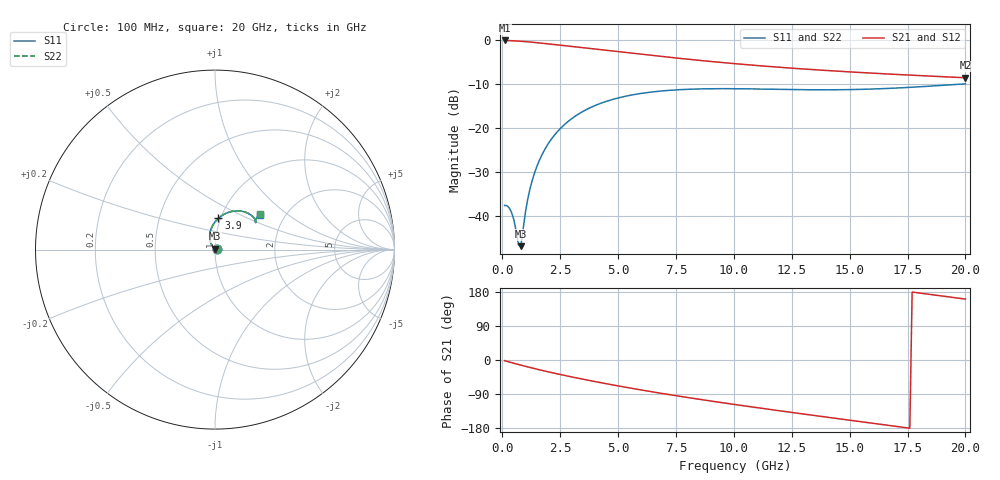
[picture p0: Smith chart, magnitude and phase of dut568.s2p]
! Touchstone file exported from HFSS 2024.1.0
!  File:  C:/UserFiles/LocalFiles/RDL_TSV_Batchsim/temp_RDL_TSV_568_1779753776.aedt
!  Generated:  08:15:35 AM May 26, 2026
!  Design:  RDL_TSV
!  Project:  temp_RDL_TSV_568_1779753776
!  Setup:  Setup1
!  Solution:  Sweep
! Variables:
!  dtsv = 14.31um
!  hbump = 3um
!  htsv = 53.37um
!  ldown = 234.03um
!  lrdl = 575.54um
!  p = 40
!  p1 = 45.98um
!  rhole = 10um
!  subl = 3004.25um
!  t = 450um
!  tdown = 3.14um
!  trdl = 4.39um
!  viad = 10um
!  wdown = 26.8um
!  wrdl = 18.78um
!  xbump = 18um
# GHz S MA R 50.000000
! Terminal data exported
! Port[1] = TM1_1_T1
! Port[2] = TM1_4_T1
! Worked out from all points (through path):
!   200 points, 100 MHz to 20 GHz, reference 50 ohm
!   highest |S21| = -0.12 dB at 100 MHz (marker M1); lowest = -8.6 dB at 20 GHz (marker M2)
!   group delay of S21, straight-line fit = 26.2 ps
!   lowest |S11| = -46.8 dB at 800 MHz (marker M3), VSWR 1.01, Z = 50.1 + j0.452 ohm
!   |S11| at or under -10 dB: start of sweep to 19.9 GHz
!   |S22| runs from -46.8 to -9.9 dB; largest |S21 - S12| = 8.7e-15
!   S11 on the Smith chart (normalised r, x): 100 MHz: 1.03, +0.00; 3.9 GHz: 0.98, +0.35; 20 GHz: 1.50, +0.65
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0.1  0.01324 2.6  0.9862 -1.8  0.9862 -1.8  0.01324 2.6
! Gamma 0 0 0 0
! Port Impedance 50 0 50 0
0.3  0.01244 3.0  0.9824 -5.2  0.9824 -5.2  0.01243 2.9
0.4  0.01104 3.3  0.9798 -6.9  0.9798 -6.9  0.01103 3.3
0.5  0.009081 6.0  0.9768 -8.6  0.9768 -8.6  0.009072 5.9
0.7  0.004715 36.8  0.9698 -11.9  0.9698 -11.9  0.004703 36.9
0.8  0.004569 81.1  0.9657 -13.5  0.9657 -13.5  0.004565 81.3
1  0.01113 121.6  0.9567 -16.7  0.9567 -16.7  0.01114 121.7
1.1  0.01568 125.6  0.9518 -18.3  0.9518 -18.3  0.0157 125.7
1.3  0.0259 126.6  0.9413 -21.3  0.9413 -21.3  0.02592 126.6
1.6  0.04297 122.8  0.9245 -25.8  0.9245 -25.8  0.043 122.8
2  0.06738 115.5  0.9012 -31.5  0.9012 -31.5  0.06743 115.5
2.4  0.09222 108.0  0.8777 -36.9  0.8777 -36.9  0.0923 108.0
2.9  0.1223 99.2  0.8488 -43.4  0.8488 -43.4  0.1224 99.2
3.5  0.1554 89.7  0.8152 -50.9  0.8152 -50.9  0.1555 89.7
3.9  0.1751 83.9  0.7934 -55.7  0.7934 -55.7  0.1753 84.0
5.2  0.2259 68.3  0.7263 -70.5  0.7263 -70.5  0.2262 68.4
6.8  0.2623 54.1  0.6526 -87.3  0.6526 -87.3  0.2627 54.2
8.4  0.2774 44.2  0.5902 -102.7  0.5902 -102.7  0.2779 44.3
10.1  0.2794 37.6  0.5362 -118.0  0.5362 -118.0  0.28 37.6
13.4  0.2719 33.7  0.4607 -145.8  0.4607 -145.8  0.2724 33.6
16.7  0.2819 36.4  0.41 -172.7  0.41 -172.7  0.2825 36.3
20  0.3176 38.0  0.3724 160.8  0.3724 160.8  0.3182 38.0
